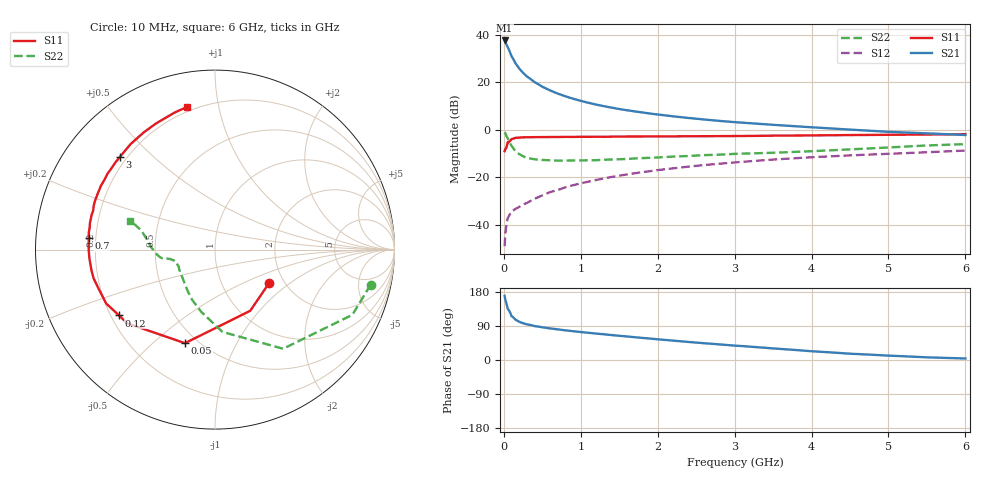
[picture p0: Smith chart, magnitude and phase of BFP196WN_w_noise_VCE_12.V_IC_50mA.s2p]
! Infineon Technologies  Discrete & RF Semiconductors
! BFP196WN
! VCE =  12. V,  IC =  50 mA
! Common Emitter S-Parameters:  Jan 2017
# GHz  S  MA  R  50
!  f  S11  S21  S12  S22
! GHz  MAG  ANG  MAG  ANG  MAG  ANG  MAG  ANG
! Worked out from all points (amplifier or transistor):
!   77 points, 10 MHz to 6 GHz, reference 50 ohm
!   highest |S21| = 37.7 dB at 10 MHz (marker M1)
!   |S21| within 3 dB of that: start of sweep to 53.65 MHz
!   unconditionally stable (mu >= 1): 666.2 MHz to 2.691 GHz
!   at 130 MHz: K = 0.50, MSG = 31.6 dB, |S12| = -33.9 dB
!   at 2.2 GHz: K = 1.02, MAG = 10.0 dB, |S12| = -16.3 dB
!   at 6 GHz: K = 0.89, MSG = 3.3 dB, |S12| = -8.8 dB
!   lowest NFmin = 1.27 dB at 450 MHz
!   S11 on the Smith chart (normalised r, x): 10 MHz: 1.67, -0.71; 50 MHz: 0.43, -0.64; 120 MHz: 0.23, -0.29; 700 MHz: 0.17, +0.04; 3 GHz: 0.17, +0.39; 6 GHz: 0.18, +0.81
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0.01  0.3546 -31.7  77.05 169.2  0.0035 65.0  0.8888 -12.7
0.02  0.3934 -60.1  71.25 158.4  0.0067 63.6  0.8472 -25.4
0.05  0.5475 -107.8  56.2 135.3  0.0136 50.7  0.6703 -55.5
0.1  0.6379 -139.9  35.88 115.9  0.0186 48.3  0.4605 -84.8
0.12  0.6488 -145.6  31.7 112.9  0.0197 47.4  0.4142 -90.7
0.15  0.6767 -153.7  25.66 106.6  0.0214 46.3  0.3558 -102.3
0.2  0.6842 -161.4  19.69 100.9  0.0236 50.7  0.3072 -114.6
0.25  0.695 -166.7  15.95 97.0  0.0265 51.9  0.277 -123.2
0.3  0.6977 -170.4  13.39 94.1  0.0286 54.4  0.2568 -130.3
0.4  0.7014 -175.8  10.15 89.6  0.035 59.1  0.2388 -139.6
0.5  0.7035 -179.5  8.142 86.3  0.0413 61.6  0.2316 -146.4
0.6  0.7045 177.5  6.807 83.4  0.0484 64.0  0.2276 -151.4
0.7  0.7057 174.7  5.829 80.9  0.0535 65.4  0.2235 -154.5
0.9  0.7088 170.0  4.535 76.0  0.0677 66.6  0.2259 -158.8
1.1  0.7126 166.1  3.722 71.8  0.0807 67.4  0.2276 -162.0
1.5  0.7201 159.1  2.751 63.9  0.1077 66.3  0.2392 -166.0
2.1  0.728 149.3  2.017 52.9  0.1474 63.3  0.2665 -169.0
3  0.7398 135.9  1.454 38.0  0.2049 57.0  0.3108 -172.5
3.1  0.7414 134.4  1.417 36.7  0.211 56.2  0.3142 -173.2
4.1  0.7659 120.0  1.108 21.9  0.2685 48.2  0.3599 176.7
5.1  0.7875 109.2  0.894 10.7  0.3163 40.8  0.4328 164.8
6  0.8093 101.2  0.777 3.9  0.3649 34.9  0.4996 161.7
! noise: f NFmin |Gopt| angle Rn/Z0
0.45  1.27  0.53  -177  0.05
0.9  1.39  0.56  -171  0.05
1.9  2.33  0.69  -148  0.16
2.4  3.05  0.7  -140  0.28
